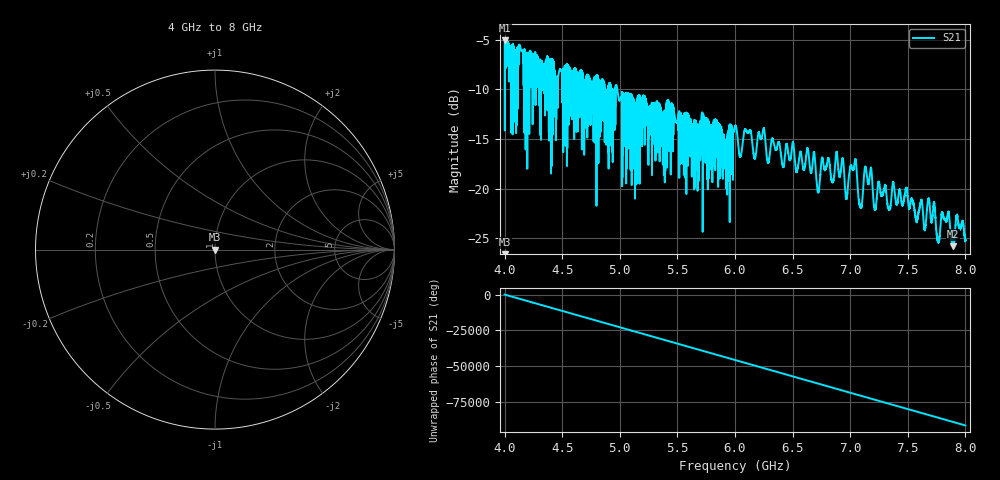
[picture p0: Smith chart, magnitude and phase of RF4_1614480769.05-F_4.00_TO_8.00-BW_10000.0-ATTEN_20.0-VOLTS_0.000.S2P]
!Keysight Technologies,E5063A,MY54502693,A.05.04
!Date: Sat Feb 27 19:53:08 2021
!Data & Calibration Information:
!Freq	S11:NONE(--)	S21:NONE(--)	S12:NONE(--)	S22:NONE(--)
# Hz S RI R 50
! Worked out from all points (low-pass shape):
!   10000 points, 4 GHz to 8 GHz, reference 50 ohm
!   highest |S21| = -5.10 dB at 4 GHz (marker M1); lowest = -25.8 dB at 7.894 GHz (marker M2)
!   |S21| within 3 dB of the highest: 4.002 GHz to 4.037 GHz (34.8 MHz wide, 0.866 % of centre); 4.116 GHz to 4.165 GHz (48.37 MHz wide, 1.17 % of centre) (the widest 2 of 146)
!   lowest |S11| = - dB at 4 GHz (marker M3), VSWR 1.00, Z = 50 + j0 ohm
!   |S11| at or under -10 dB: start of sweep to end of sweep
!   S12 and S22 are empty: the file has one direction only
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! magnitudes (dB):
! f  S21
! 4 GHz  -5.1
! 4.667 GHz  -8.3
! 5.334 GHz  -11.4
! 5.921 GHz  -15.8
! 6 GHz  -13.8
! 6.046 GHz  -16.8
! 6.243 GHz  -14.2
! 6.287 GHz  -17.4
! 6.667 GHz  -18.2
! 6.723 GHz  -20.4
! 6.884 GHz  -16.4
! 6.969 GHz  -21.0
! 7.036 GHz  -17.6
! 7.087 GHz  -21.8
! 7.136 GHz  -17.9
! 7.334 GHz  -22.0
! 7.484 GHz  -20.0
! 7.726 GHz  -21.4
! 7.763 GHz  -25.3
! 7.845 GHz  -22.7
! 7.894 GHz  -25.8
! 8 GHz  -25.2
